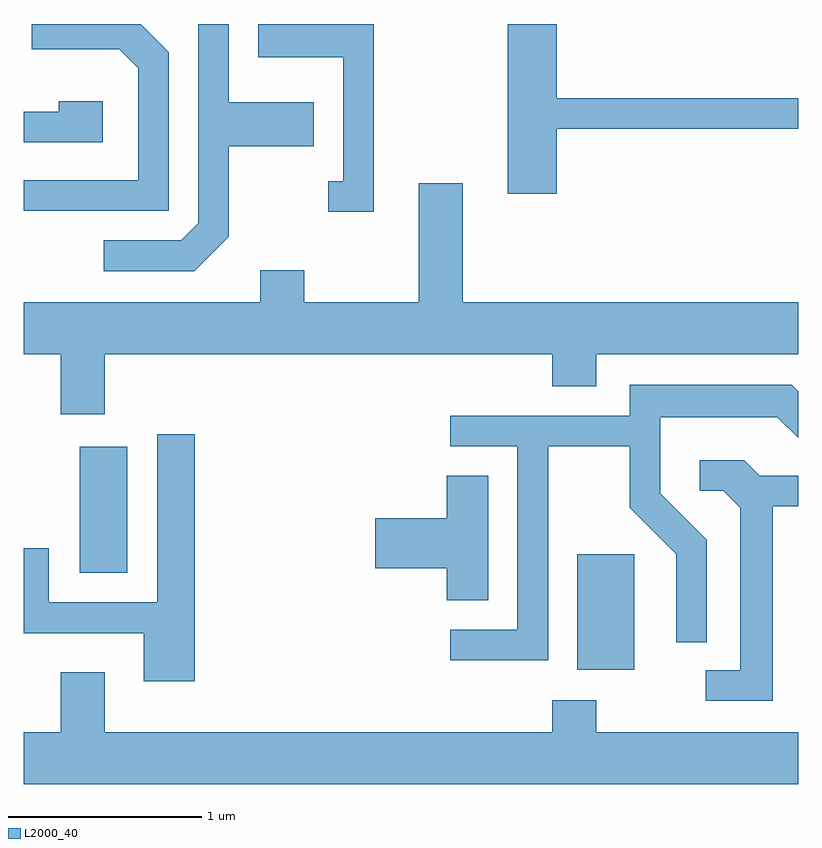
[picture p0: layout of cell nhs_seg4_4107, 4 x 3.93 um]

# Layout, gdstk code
import gdstk
lib = gdstk.Library(unit=1e-6, precision=1e-09)
def R(c, l, rs):  # rectangles x0, y0, x1, y1
    for r in rs: c.add(gdstk.rectangle(r[:2], r[2:], *l))
def P(c, l, *ps):  # polygons
    for p in ps: c.add(gdstk.Polygon(p, *l))
L2000_40 = (2000, 40)

nhs_seg4_4107 = lib.new_cell('nhs_seg4_4107')
R(nhs_seg4_4107, L2000_40, [(308.471,1308.646,308.764,1309.244), (305.901,1309.146,306.144,1309.799)])
P(nhs_seg4_4107, L2000_40, [(306.669,1310.884),(306.669,1311.351),(307.109,1311.351),(307.109,1311.579),(306.669,1311.579),(306.669,1311.982),(306.511,1311.982),(306.511,1310.952),(306.424,1310.864),(306.023,1310.864),(306.023,1310.706),(306.492,1310.706)],
  [(307.419,1311.982),(306.821,1311.982),(306.821,1311.811),(307.261,1311.811),(307.261,1311.169),(307.183,1311.169),(307.183,1311.011),(307.419,1311.011)],
  [(306.359,1311.837),(306.214,1311.982),(305.651,1311.982),(305.651,1311.851),(306.104,1311.851),(306.201,1311.754),(306.201,1311.174),(305.611,1311.174),(305.611,1311.016),(306.359,1311.016)],
  [(308.364,1311.441),(309.611,1311.441),(309.611,1311.599),(308.364,1311.599),(308.364,1311.982),(308.111,1311.982),(308.111,1311.106),(308.364,1311.106)],
  [(306.019,1311.584),(305.791,1311.584),(305.791,1311.529),(305.611,1311.529),(305.611,1311.371),(306.019,1311.371)],
  [(306.029,1310.276),(308.341,1310.276),(308.341,1310.111),(308.569,1310.111),(308.569,1310.276),(309.611,1310.276),(309.611,1310.544),(307.879,1310.544),(307.879,1311.159),(307.651,1311.159),(307.651,1310.544),(307.059,1310.544),(307.059,1310.709),(306.831,1310.709),(306.831,1310.544),(305.611,1310.544),(305.611,1310.276),(305.801,1310.276),(305.801,1309.966),(306.029,1309.966)],
  [(308.319,1309.801),(308.741,1309.801),(308.741,1309.484),(308.981,1309.244),(308.981,1308.788),(309.139,1308.788),(309.139,1309.317),(308.899,1309.557),(308.899,1309.951),(309.504,1309.951),(309.611,1309.844),(309.611,1310.085),(309.577,1310.119),(308.741,1310.119),(308.741,1309.959),(307.813,1309.959),(307.813,1309.801),(308.161,1309.801),(308.161,1308.854),(307.813,1308.854),(307.813,1308.696),(308.319,1308.696)],
  [(306.494,1309.864),(306.301,1309.864),(306.301,1308.994),(305.739,1308.994),(305.739,1309.273),(305.611,1309.273),(305.611,1308.836),(306.231,1308.836),(306.231,1308.586),(306.494,1308.586)],
  [(309.479,1309.491),(309.611,1309.491),(309.611,1309.649),(309.412,1309.649),(309.332,1309.729),(309.103,1309.729),(309.103,1309.571),(309.224,1309.571),(309.311,1309.484),(309.311,1308.644),(309.133,1308.644),(309.133,1308.486),(309.479,1308.486)],
  [(308.009,1309.649),(307.796,1309.649),(307.796,1309.429),(307.426,1309.429),(307.426,1309.171),(307.796,1309.171),(307.796,1309.006),(308.009,1309.006)],
  [(309.611,1308.324),(308.569,1308.324),(308.569,1308.489),(308.341,1308.489),(308.341,1308.324),(306.029,1308.324),(306.029,1308.634),(305.801,1308.634),(305.801,1308.324),(305.611,1308.324),(305.611,1308.056),(309.611,1308.056)])

lib.write_gds('nhs_seg4_4107.gds')
